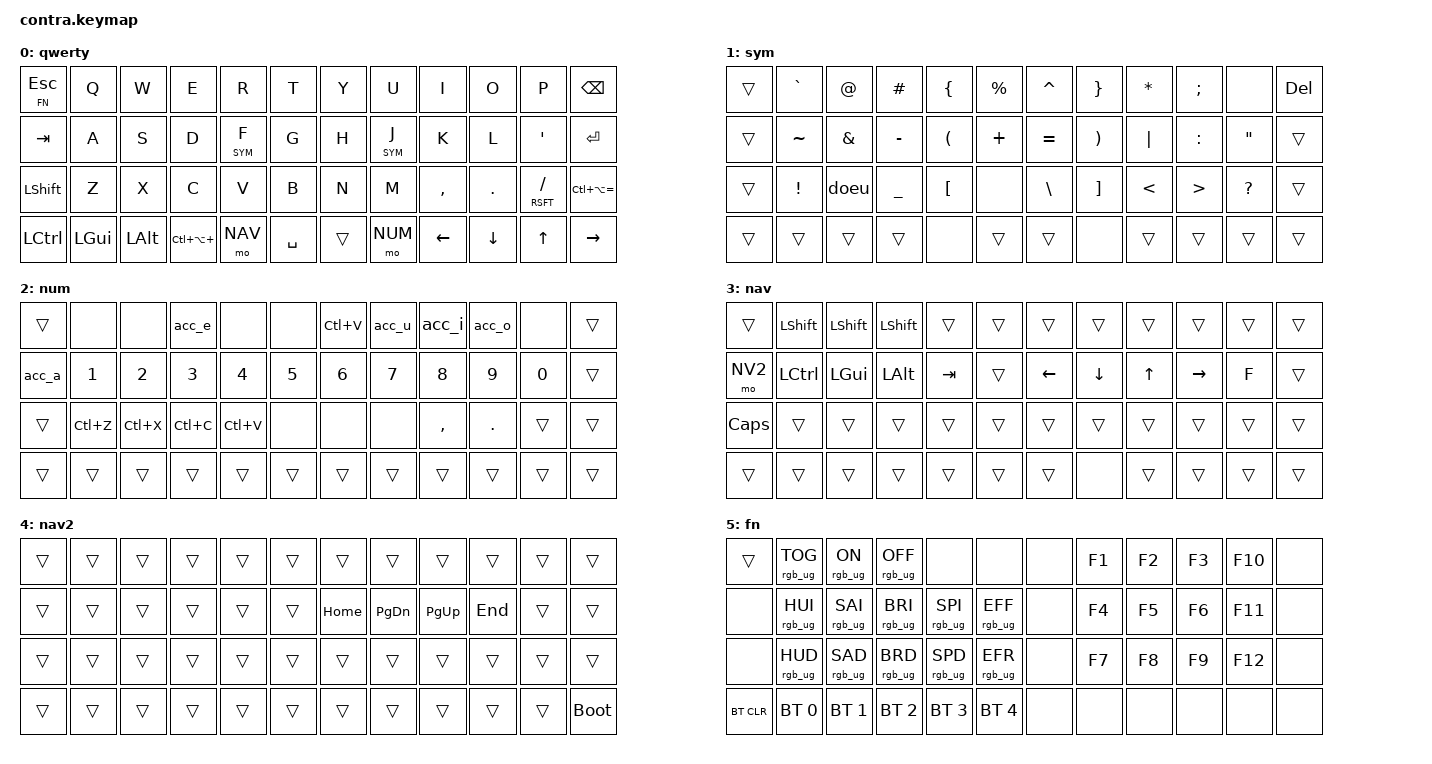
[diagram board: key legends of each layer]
/*
 * Copyright (c) 2021 The ZMK Contributors
 *
 * SPDX-License-Identifier: MIT
 */

#include <behaviors.dtsi>
#include <dt-bindings/zmk/keys.h>
#include <dt-bindings/zmk/bt.h>
#include <dt-bindings/zmk/rgb.h>

#define QWE      0
#define SYM      1
#define NUM      2
#define NAV      3
#define NV2      4
#define FN       5

#define COMPOSE_KEY K_APP

/ {
    behaviors {
        bhm: balanced_homerow_mods {
            compatible = "zmk,behavior-hold-tap";
            label = "HOMEROW_MODS";
            #binding-cells = <2>;
            tapping-term-ms = <175>;
            quick-tap-ms = <150>;
            flavor = "balanced";
            bindings = <&mo>, <&kp>;
        };

        doeu: dollar_euro {
            compatible = "zmk,behavior-tap-dance";
            label = "TAP_DANCE_0";
            #binding-cells = <0>;
            tapping-term-ms = <175>;
            bindings = <&kp DOLLAR>, <&euro>;
        };

        acc_a: accented_a {
            compatible = "zmk,behavior-mod-morph";
            label = "ACCENTED_A";
            #binding-cells = <0>;
            bindings = <&lo_acc_a>, <&up_acc_a>;
            mods = <(MOD_LSFT|MOD_RSFT)>;
        };

        acc_e: accented_e {
            compatible = "zmk,behavior-tap-dance";
            label = "ACCENTED_E";
            #binding-cells = <0>;
            tapping-term-ms = <175>;
            bindings = <&acc_e_grv>, <&acc_e_acu>;
        };

        acc_e_grv: accented_e_grv {
            compatible = "zmk,behavior-mod-morph";
            label = "ACCENTED_E_GRV";
            #binding-cells = <0>;
            bindings = <&lo_acc_e>, <&up_acc_e>;
            mods = <(MOD_LSFT|MOD_RSFT)>;
        };

        acc_e_acu: accented_e_acu {
            compatible = "zmk,behavior-mod-morph";
            label = "ACCENTED_E_ACU";
            #binding-cells = <0>;
            bindings = <&lo_acc_e_acu>, <&up_acc_e_acu>;
            mods = <(MOD_LSFT|MOD_RSFT)>;
        };

        acc_i: accented_i {
            compatible = "zmk,behavior-mod-morph";
            label = "ACCENTED_I";
            #binding-cells = <0>;
            bindings = <&lo_acc_i>, <&up_acc_i>;
            mods = <(MOD_LSFT|MOD_RSFT)>;
        };

        acc_o: accented_o {
            compatible = "zmk,behavior-mod-morph";
            label = "ACCENTED_O";
            #binding-cells = <0>;
            bindings = <&lo_acc_o>, <&up_acc_o>;
            mods = <(MOD_LSFT|MOD_RSFT)>;
        };

        acc_u: accented_u {
            compatible = "zmk,behavior-mod-morph";
            label = "ACCENTED_U";
            #binding-cells = <0>;
            bindings = <&lo_acc_u>, <&up_acc_u>;
            mods = <(MOD_LSFT|MOD_RSFT)>;
        };
    };

    macros {
        euro: euro {
            label = "TYPE_EURO_SYMBOL";
            compatible = "zmk,behavior-macro";
            tap-ms = <0>;
            wait-ms = <0>;
            #binding-cells = <0>;
            bindings
                = <&macro_tap &kp COMPOSE_KEY &kp E &kp EQUAL>
                ;
        };

        lo_acc_a: lower_accented_a {
            label = "LOWER_ACCENTED_A";
            compatible = "zmk,behavior-macro";
            tap-ms = <0>;
            wait-ms = <0>;
            #binding-cells = <0>;
            bindings
                = <&macro_tap &kp COMPOSE_KEY &kp A &kp GRAVE>
                ;
        };

        up_acc_a: upper_accented_a {
            label = "UPPER_ACCENTED_A";
            compatible = "zmk,behavior-macro";
            tap-ms = <0>;
            wait-ms = <0>;
            #binding-cells = <0>;
            bindings
                = <&macro_tap &kp COMPOSE_KEY &kp LS(A) &kp GRAVE>
                ;
        };

        lo_acc_e: lower_accented_e {
            label = "LOWER_ACCENTED_E";
            compatible = "zmk,behavior-macro";
            tap-ms = <0>;
            wait-ms = <0>;
            #binding-cells = <0>;
            bindings
                = <&macro_tap &kp COMPOSE_KEY &kp E &kp GRAVE>
                ;
        };

        up_acc_e: upper_accented_e {
            label = "UPPER_ACCENTED_E";
            compatible = "zmk,behavior-macro";
            tap-ms = <0>;
            wait-ms = <0>;
            #binding-cells = <0>;
            bindings
                = <&macro_tap &kp COMPOSE_KEY &kp LS(E) &kp GRAVE>
                ;
        };

        lo_acc_e_acu: lower_accented_e_acu {
            label = "LOWER_ACCENTED_E_ACU";
            compatible = "zmk,behavior-macro";
            tap-ms = <0>;
            wait-ms = <0>;
            #binding-cells = <0>;
            bindings
                = <&macro_tap &kp COMPOSE_KEY &kp E &kp SQT>
                ;
        };

        up_acc_e_acu: upper_accented_e_acu {
            label = "UPPER_ACCENTED_E_ACU";
            compatible = "zmk,behavior-macro";
            tap-ms = <0>;
            wait-ms = <0>;
            #binding-cells = <0>;
            bindings
                = <&macro_tap &kp COMPOSE_KEY &kp LS(E) &kp SQT>
                ;
        };

        lo_acc_i: lower_accented_i {
            label = "LOWER_ACCENTED_I";
            compatible = "zmk,behavior-macro";
            tap-ms = <0>;
            wait-ms = <0>;
            #binding-cells = <0>;
            bindings
                = <&macro_tap &kp COMPOSE_KEY &kp I &kp GRAVE>
                ;
        };

        up_acc_i: upper_accented_i {
            label = "UPPER_ACCENTED_I";
            compatible = "zmk,behavior-macro";
            tap-ms = <0>;
            wait-ms = <0>;
            #binding-cells = <0>;
            bindings
                = <&macro_tap &kp COMPOSE_KEY &kp LS(I) &kp GRAVE>
                ;
        };

        lo_acc_o: lower_accented_o {
            label = "LOWER_ACCENTED_O";
            compatible = "zmk,behavior-macro";
            tap-ms = <0>;
            wait-ms = <0>;
            #binding-cells = <0>;
            bindings
                = <&macro_tap &kp COMPOSE_KEY &kp O &kp GRAVE>
                ;
        };

        up_acc_o: upper_accented_o {
            label = "UPPER_ACCENTED_O";
            compatible = "zmk,behavior-macro";
            tap-ms = <0>;
            wait-ms = <0>;
            #binding-cells = <0>;
            bindings
                = <&macro_tap &kp COMPOSE_KEY &kp LS(O) &kp GRAVE>
                ;
        };

        lo_acc_u: lower_accented_u {
            label = "LOWER_ACCENTED_U";
            compatible = "zmk,behavior-macro";
            tap-ms = <0>;
            wait-ms = <0>;
            #binding-cells = <0>;
            bindings
                = <&macro_tap &kp COMPOSE_KEY &kp U &kp GRAVE>
                ;
        };

        up_acc_u: upper_accented_u {
            label = "UPPER_ACCENTED_U";
            compatible = "zmk,behavior-macro";
            tap-ms = <0>;
            wait-ms = <0>;
            #binding-cells = <0>;
            bindings
                = <&macro_tap &kp COMPOSE_KEY &kp LS(U) &kp GRAVE>
                ;
        };
        
    };

    keymap {
        compatible = "zmk,keymap";

        qwerty {
            bindings = <
    &lt FN ESC &kp Q     &kp W    &kp E                &kp R       &kp T      &kp Y     &kp U        &kp I     &kp O     &kp P         &kp BSPC
    &kp TAB    &kp A     &kp S    &kp D                &bhm SYM F  &kp G      &kp H     &bhm SYM J   &kp K     &kp L     &kp SQT       &kp ENTER
    &kp LSHFT  &kp Z     &kp X    &kp C                &kp V       &kp B      &kp N     &kp M        &kp COMMA &kp DOT   &mt RSFT FSLH &kp LC(LA(EQUAL))
    &kp LCTRL  &kp LGUI  &kp LALT &kp LC(LA(PLUS))     &mo NAV     &kp SPACE  &trans    &mo NUM      &kp LEFT  &kp DOWN &kp UP         &kp RIGHT
            >;
        };

        sym {
            bindings = <
    &trans     &kp GRAVE       &kp AT        &kp HASH       &kp LEFT_BRACE       &kp PERCENT &kp CARET     &kp RIGHT_BRACE       &kp STAR      &kp SEMICOLON    &none             &kp DEL
    &trans     &kp TILDE       &kp AMPERSAND &kp MINUS      &kp LEFT_PARENTHESIS &kp PLUS    &kp EQUAL     &kp RIGHT_PARENTHESIS &kp PIPE      &kp COLON        &kp DOUBLE_QUOTES &trans
    &trans     &kp EXCLAMATION &doeu         &kp UNDERSCORE &kp LEFT_BRACKET     &none       &kp BACKSLASH &kp RIGHT_BRACKET     &kp LESS_THAN &kp GREATER_THAN &kp QUESTION      &trans
    &trans     &trans          &trans        &trans         &none                &trans      &trans        &none                 &trans        &trans           &trans            &trans
            >;
        };

        num {
            bindings = <
    &trans    &none        &none       &acc_e      &none         &none        &kp LC(V)   &acc_u   &acc_i    &acc_o  &none   &trans
    &acc_a    &kp N1       &kp N2      &kp N3      &kp N4        &kp N5       &kp N6      &kp N7   &kp N8    &kp N9  &kp N0  &trans
    &trans    &kp LC(Z)    &kp LC(X)   &kp LC(C)   &kp LC(V)     &none        &none       &none    &kp COMMA &kp DOT &trans  &trans
    &trans    &trans       &trans      &trans      &trans        &trans       &trans      &trans   &trans    &trans  &trans  &trans
            >;
        };

        nav {
            bindings = <
    &trans     &kp LSHFT    &kp LSHFT    &kp LSHFT    &trans       &trans       &trans    &trans    &trans     &trans     &trans   &trans
    &mo NV2    &kp LCTRL    &kp LGUI     &kp LALT     &kp TAB      &trans       &kp LEFT  &kp DOWN  &kp UP     &kp RIGHT  &kp F    &trans
    &kp CAPS   &trans       &trans       &trans       &trans       &trans       &trans    &trans    &trans     &trans     &trans   &trans
    &trans     &trans       &trans       &trans       &trans       &trans       &trans    &none     &trans     &trans     &trans   &trans
            >;
        };

        nav2 {
            bindings = <
    &trans     &trans       &trans       &trans       &trans       &trans       &trans    &trans    &trans     &trans     &trans   &trans
    &trans     &trans       &trans       &trans       &trans       &trans       &kp HOME  &kp PG_DN &kp PG_UP  &kp END    &trans   &trans
    &trans     &trans       &trans       &trans       &trans       &trans       &trans    &trans    &trans     &trans     &trans   &trans
    &trans     &trans       &trans       &trans       &trans       &trans       &trans    &trans    &trans     &trans     &trans   &bootloader
            >;
        };

        fn {
            bindings = <
    &trans     &rgb_ug RGB_TOG &rgb_ug RGB_ON  &rgb_ug RGB_OFF &none           &none           &none    &kp F1   &kp F2    &kp F3    &kp F10  &none
    &none      &rgb_ug RGB_HUI &rgb_ug RGB_SAI &rgb_ug RGB_BRI &rgb_ug RGB_SPI &rgb_ug RGB_EFF &none    &kp F4   &kp F5    &kp F6    &kp F11  &none
    &none      &rgb_ug RGB_HUD &rgb_ug RGB_SAD &rgb_ug RGB_BRD &rgb_ug RGB_SPD &rgb_ug RGB_EFR &none    &kp F7   &kp F8    &kp F9    &kp F12  &none
    &bt BT_CLR &bt BT_SEL 0    &bt BT_SEL 1    &bt BT_SEL 2    &bt BT_SEL 3    &bt BT_SEL 4    &none    &none    &none     &none     &none    &none
            >;
        };
    };
};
